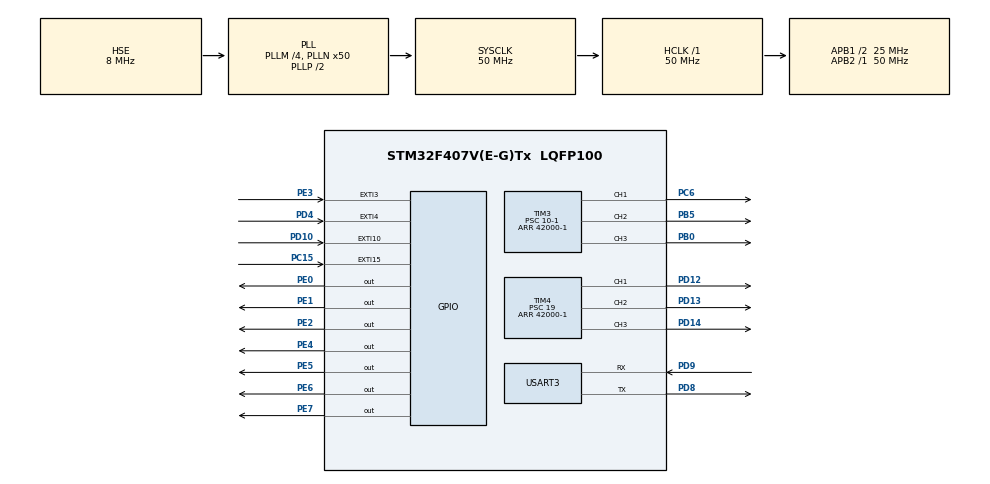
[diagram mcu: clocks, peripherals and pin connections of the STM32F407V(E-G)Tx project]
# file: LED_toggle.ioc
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Mcu.Family=STM32F4
Mcu.Name=STM32F407V(E-G)Tx
Mcu.Package=LQFP100
NVIC.EXTI15_10_IRQn=true\:0\:0\:false\:true\:true\:3\:true\:true\:true
NVIC.EXTI3_IRQn=true\:0\:0\:false\:true\:true\:5\:true\:true\:true
NVIC.EXTI4_IRQn=true\:0\:0\:false\:true\:true\:4\:true\:true\:true
NVIC.PriorityGroup=NVIC_PRIORITYGROUP_4
NVIC.TIM7_IRQn=true\:0\:0\:false\:true\:true\:2\:true\:true\:true
NVIC.USART3_IRQn=true\:0\:0\:false\:true\:true\:1\:true\:true\:true
PB0.Signal=S_TIM3_CH3
PB5.Signal=S_TIM3_CH2
PC15-OSC32_OUT.Signal=GPXTI15
PC6.Signal=S_TIM3_CH1
PD10.Signal=GPXTI10
PD12.Signal=S_TIM4_CH1
PD13.Signal=S_TIM4_CH2
PD14.Signal=S_TIM4_CH3
PD4.Signal=GPXTI4
PD8.Mode=Asynchronous
PD8.Signal=USART3_TX
PD9.Mode=Asynchronous
PD9.Signal=USART3_RX
PE0.Signal=GPIO_Output
PE1.Signal=GPIO_Output
PE2.Signal=GPIO_Output
PE3.Signal=GPXTI3
PE4.Signal=GPIO_Output
PE5.Signal=GPIO_Output
PE6.Signal=GPIO_Output
PE7.Signal=GPIO_Output
PH0-OSC_IN.Mode=HSE-External-Oscillator
PH0-OSC_IN.Signal=RCC_OSC_IN
PH1-OSC_OUT.Mode=HSE-External-Oscillator
PH1-OSC_OUT.Signal=RCC_OSC_OUT
ProjectManager.HeapSize=0x200
ProjectManager.StackSize=0x400
ProjectManager.TargetToolchain=STM32CubeIDE
RCC.48MHZClocksFreq_Value=25000000
RCC.AHBFreq_Value=50000000
RCC.APB1CLKDivider=RCC_HCLK_DIV2
RCC.APB1Freq_Value=25000000
RCC.APB1TimFreq_Value=50000000
RCC.APB2Freq_Value=50000000
RCC.APB2TimFreq_Value=50000000
RCC.CortexFreq_Value=50000000
RCC.HCLKFreq_Value=50000000
RCC.HSE_VALUE=8000000
RCC.HSI_VALUE=16000000
RCC.PLLM=4
RCC.PLLN=50
RCC.PLLSourceVirtual=RCC_PLLSOURCE_HSE
RCC.SYSCLKFreq_VALUE=50000000
RCC.SYSCLKSource=RCC_SYSCLKSOURCE_PLLCLK
RCC.VCOOutputFreq_Value=100000000
SH.S_TIM3_CH1.0=TIM3_CH1,PWM Generation1 CH1
SH.S_TIM3_CH2.0=TIM3_CH2,PWM Generation2 CH2
SH.S_TIM3_CH3.0=TIM3_CH3,PWM Generation3 CH3
SH.S_TIM4_CH1.0=TIM4_CH1,PWM Generation1 CH1
SH.S_TIM4_CH2.0=TIM4_CH2,PWM Generation2 CH2
SH.S_TIM4_CH3.0=TIM4_CH3,PWM Generation3 CH3
TIM3.Channel-PWM\ Generation1\ CH1=TIM_CHANNEL_1
TIM3.Channel-PWM\ Generation2\ CH2=TIM_CHANNEL_2
TIM3.Channel-PWM\ Generation3\ CH3=TIM_CHANNEL_3
TIM3.Period=42000-1
TIM3.Prescaler=10-1
TIM3.Pulse-PWM\ Generation1\ CH1=21000-1
TIM3.Pulse-PWM\ Generation2\ CH2=10500-1
TIM3.Pulse-PWM\ Generation3\ CH3=5250-1
TIM4.Channel-PWM\ Generation1\ CH1=TIM_CHANNEL_1
TIM4.Channel-PWM\ Generation2\ CH2=TIM_CHANNEL_2
TIM4.Channel-PWM\ Generation3\ CH3=TIM_CHANNEL_3
TIM4.Period=42000-1
TIM4.Prescaler=19
TIM4.Pulse-PWM\ Generation1\ CH1=21000-1
TIM4.Pulse-PWM\ Generation2\ CH2=10500-1
TIM4.Pulse-PWM\ Generation3\ CH3=5250-1
TIM7.Period=8399
TIM7.Prescaler=9999
USART3.VirtualMode=VM_ASYNC
VP_TIM3_VS_ClockSourceINT.Mode=Internal
VP_TIM4_VS_ClockSourceINT.Mode=Internal
VP_TIM7_VS_ClockSourceINT.Mode=Enable_Timer
board=custom

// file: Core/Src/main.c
/* USER CODE BEGIN Header */
/**
  ******************************************************************************
  * @file           : main.c
  * @brief          : Main program body
  ******************************************************************************
  * @attention
  *
  * Copyright (c) 2025 STMicroelectronics.
  * All rights reserved.
  *
  * This software is licensed under terms that can be found in the LICENSE file
  * in the root directory of this software component.
  * If no LICENSE file comes with this software, it is provided AS-IS.
  *
  ******************************************************************************
  */
/* USER CODE END Header */
#include "main.h"

/* USER CODE BEGIN Includes */
#include <stdio.h>
/* USER CODE END Includes */

TIM_HandleTypeDef htim3;
TIM_HandleTypeDef htim4;
TIM_HandleTypeDef htim7;

UART_HandleTypeDef huart3;

/* USER CODE BEGIN PV */
uint8_t rx3_data;
/* USER CODE END PV */

void SystemClock_Config(void);
static void MX_GPIO_Init(void);
static void MX_USART3_UART_Init(void);
static void MX_TIM7_Init(void);
static void MX_TIM3_Init(void);
static void MX_TIM4_Init(void);
static void MX_NVIC_Init(void);
/* USER CODE BEGIN PFP */
int _write(int file, char* p, int len)
{
	HAL_UART_Transmit(&huart3, (uint8_t*)p, len, 10);
	return len;
}
/* USER CODE END PFP */

int main(void)
{

  /* MCU Configuration--------------------------------------------------------*/

  /* Reset of all peripherals, Initializes the Flash interface and the Systick. */
  HAL_Init();

  /* Configure the system clock */
  SystemClock_Config();

  /* Initialize all configured peripherals */
  MX_GPIO_Init();
  MX_USART3_UART_Init();
  MX_TIM7_Init();
  MX_TIM3_Init();
  MX_TIM4_Init();

  /* Initialize interrupts */
  MX_NVIC_Init();
  /* USER CODE BEGIN 2 */
  HAL_GPIO_WritePin(GPIOD,GPIO_PIN_12,GPIO_PIN_SET);
  HAL_GPIO_WritePin(GPIOD,GPIO_PIN_13,GPIO_PIN_SET);
	HAL_GPIO_WritePin(GPIOD,GPIO_PIN_14,GPIO_PIN_SET);
	HAL_UART_Receive_IT(&huart3, &rx3_data,1);
	HAL_TIM_Base_Start_IT(&htim7);

  /* USER CODE END 2 */
	HAL_TIM_PWM_Start(&htim3,TIM_CHANNEL_1);
	HAL_TIM_PWM_Start(&htim3,TIM_CHANNEL_2);
	HAL_TIM_PWM_Start(&htim3,TIM_CHANNEL_3);

	HAL_TIM_PWM_Start(&htim4,TIM_CHANNEL_1);
	HAL_TIM_PWM_Start(&htim4,TIM_CHANNEL_2);
	HAL_TIM_PWM_Start(&htim4,TIM_CHANNEL_3);
  /* Infinite loop */
  /* USER CODE BEGIN WHILE */
  uint16_t ccr=0;
  while (1)
  {
	  __HAL_TIM_SET_COMPARE(&htim4,TIM_CHANNEL_1,ccr);
	  ccr+=1000;
	  if (ccr>TIM4->ARR) ccr=0;
	  HAL_Delay(50);
//
//	printf("Hello %d\n",a++);
//	HAL_Delay(1000);
  }
//	GPIOE->ODR=0x3F00;
//	HAL_Delay(1000);
//	GPIOE->ODR=0x0600;
//	HAL_Delay(1000);
//	GPIOE->ODR=0x5800;
//	HAL_Delay(1000);
//	GPIOE->ODR=0x4F00;
//	HAL_Delay(1000);
//	GPIOE->ODR=0x6600;
//	HAL_Delay(1000);
//	GPIOE->ODR=0x6D00;
//	HAL_Delay(1000);
//	GPIOE->ODR=0x7D00;
//	HAL_Delay(1000);
//	GPIOE->ODR=0x0700;
//	HAL_Delay(1000);
//	GPIOE->ODR=0x7F00;
//	HAL_Delay(1000);
//	GPIOE->ODR=0x6F00;
//	HAL_Delay(1000);

    /* USER CODE END WHILE */

}

void SystemClock_Config(void)
{
  RCC_OscInitTypeDef RCC_OscInitStruct = {0};
  RCC_ClkInitTypeDef RCC_ClkInitStruct = {0};

  /** Configure the main internal regulator output voltage
  */
  __HAL_RCC_PWR_CLK_ENABLE();
  __HAL_PWR_VOLTAGESCALING_CONFIG(PWR_REGULATOR_VOLTAGE_SCALE1);

  /** Initializes the RCC Oscillators according to the specified parameters
  * in the RCC_OscInitTypeDef structure.
  */
  RCC_OscInitStruct.OscillatorType = RCC_OSCILLATORTYPE_HSE;
  RCC_OscInitStruct.HSEState = RCC_HSE_ON;
  RCC_OscInitStruct.PLL.PLLState = RCC_PLL_ON;
  RCC_OscInitStruct.PLL.PLLSource = RCC_PLLSOURCE_HSE;
  RCC_OscInitStruct.PLL.PLLM = 4;
  RCC_OscInitStruct.PLL.PLLN = 50;
  RCC_OscInitStruct.PLL.PLLP = RCC_PLLP_DIV2;
  RCC_OscInitStruct.PLL.PLLQ = 4;
  if (HAL_RCC_OscConfig(&RCC_OscInitStruct) != HAL_OK)
  {
    Error_Handler();
  }

  /** Initializes the CPU, AHB and APB buses clocks
  */
  RCC_ClkInitStruct.ClockType = RCC_CLOCKTYPE_HCLK|RCC_CLOCKTYPE_SYSCLK
                              |RCC_CLOCKTYPE_PCLK1|RCC_CLOCKTYPE_PCLK2;
  RCC_ClkInitStruct.SYSCLKSource = RCC_SYSCLKSOURCE_PLLCLK;
  RCC_ClkInitStruct.AHBCLKDivider = RCC_SYSCLK_DIV1;
  RCC_ClkInitStruct.APB1CLKDivider = RCC_HCLK_DIV2;
  RCC_ClkInitStruct.APB2CLKDivider = RCC_HCLK_DIV1;

  if (HAL_RCC_ClockConfig(&RCC_ClkInitStruct, FLASH_LATENCY_1) != HAL_OK)
  {
    Error_Handler();
  }
}

/**
  * @brief NVIC Configuration.
  * @retval None
  */
static void MX_NVIC_Init(void)
{
  /* USART3_IRQn interrupt configuration */
  HAL_NVIC_SetPriority(USART3_IRQn, 0, 0);
  HAL_NVIC_EnableIRQ(USART3_IRQn);
  /* TIM7_IRQn interrupt configuration */
  HAL_NVIC_SetPriority(TIM7_IRQn, 0, 0);
  HAL_NVIC_EnableIRQ(TIM7_IRQn);
  /* EXTI15_10_IRQn interrupt configuration */
  HAL_NVIC_SetPriority(EXTI15_10_IRQn, 0, 0);
  HAL_NVIC_EnableIRQ(EXTI15_10_IRQn);
  /* EXTI4_IRQn interrupt configuration */
  HAL_NVIC_SetPriority(EXTI4_IRQn, 0, 0);
  HAL_NVIC_EnableIRQ(EXTI4_IRQn);
  /* EXTI3_IRQn interrupt configuration */
  HAL_NVIC_SetPriority(EXTI3_IRQn, 0, 0);
  HAL_NVIC_EnableIRQ(EXTI3_IRQn);
}

static void MX_TIM3_Init(void)
{

  TIM_ClockConfigTypeDef sClockSourceConfig = {0};
  TIM_MasterConfigTypeDef sMasterConfig = {0};
  TIM_OC_InitTypeDef sConfigOC = {0};

  htim3.Instance = TIM3;
  htim3.Init.Prescaler = 10-1;
  htim3.Init.CounterMode = TIM_COUNTERMODE_UP;
  htim3.Init.Period = 42000-1;
  htim3.Init.ClockDivision = TIM_CLOCKDIVISION_DIV1;

  if (HAL_TIM_Base_Init(&htim3) != HAL_OK)
  {
    Error_Handler();
  }
  sClockSourceConfig.ClockSource = TIM_CLOCKSOURCE_INTERNAL;
  if (HAL_TIM_ConfigClockSource(&htim3, &sClockSourceConfig) != HAL_OK)
  {
    Error_Handler();
  }
  if (HAL_TIM_PWM_Init(&htim3) != HAL_OK)
  {
    Error_Handler();
  }
  sMasterConfig.MasterOutputTrigger = TIM_TRGO_RESET;
  sMasterConfig.MasterSlaveMode = TIM_MASTERSLAVEMODE_DISABLE;
  if (HAL_TIMEx_MasterConfigSynchronization(&htim3, &sMasterConfig) != HAL_OK)
  {
    Error_Handler();
  }
  sConfigOC.OCMode = TIM_OCMODE_PWM1;
  sConfigOC.Pulse = 21000-1;
  sConfigOC.OCPolarity = TIM_OCPOLARITY_HIGH;
  sConfigOC.OCFastMode = TIM_OCFAST_DISABLE;
  if (HAL_TIM_PWM_ConfigChannel(&htim3, &sConfigOC, TIM_CHANNEL_1) != HAL_OK)
  {
    Error_Handler();
  }
  sConfigOC.Pulse = 10500-1;
  if (HAL_TIM_PWM_ConfigChannel(&htim3, &sConfigOC, TIM_CHANNEL_2) != HAL_OK)
  {
    Error_Handler();
  }
  sConfigOC.Pulse = 5250-1;
  if (HAL_TIM_PWM_ConfigChannel(&htim3, &sConfigOC, TIM_CHANNEL_3) != HAL_OK)
  {
    Error_Handler();
  }
  HAL_TIM_MspPostInit(&htim3);

}

static void MX_TIM4_Init(void)
{

  TIM_ClockConfigTypeDef sClockSourceConfig = {0};
  TIM_MasterConfigTypeDef sMasterConfig = {0};
  TIM_OC_InitTypeDef sConfigOC = {0};

  htim4.Instance = TIM4;
  htim4.Init.Prescaler = 19;
  htim4.Init.CounterMode = TIM_COUNTERMODE_UP;
  htim4.Init.Period = 42000-1;
  htim4.Init.ClockDivision = TIM_CLOCKDIVISION_DIV1;

  if (HAL_TIM_Base_Init(&htim4) != HAL_OK)
  {
    Error_Handler();
  }
  sClockSourceConfig.ClockSource = TIM_CLOCKSOURCE_INTERNAL;
  if (HAL_TIM_ConfigClockSource(&htim4, &sClockSourceConfig) != HAL_OK)
  {
    Error_Handler();
  }
  if (HAL_TIM_PWM_Init(&htim4) != HAL_OK)
  {
    Error_Handler();
  }
  sMasterConfig.MasterOutputTrigger = TIM_TRGO_RESET;
  sMasterConfig.MasterSlaveMode = TIM_MASTERSLAVEMODE_DISABLE;
  if (HAL_TIMEx_MasterConfigSynchronization(&htim4, &sMasterConfig) != HAL_OK)
  {
    Error_Handler();
  }
  sConfigOC.OCMode = TIM_OCMODE_PWM1;
  sConfigOC.Pulse = 21000-1;
  sConfigOC.OCPolarity = TIM_OCPOLARITY_HIGH;
  sConfigOC.OCFastMode = TIM_OCFAST_DISABLE;
  if (HAL_TIM_PWM_ConfigChannel(&htim4, &sConfigOC, TIM_CHANNEL_1) != HAL_OK)
  {
    Error_Handler();
  }
  sConfigOC.Pulse = 10500-1;
  if (HAL_TIM_PWM_ConfigChannel(&htim4, &sConfigOC, TIM_CHANNEL_2) != HAL_OK)
  {
    Error_Handler();
  }
  sConfigOC.Pulse = 5250-1;
  if (HAL_TIM_PWM_ConfigChannel(&htim4, &sConfigOC, TIM_CHANNEL_3) != HAL_OK)
  {
    Error_Handler();
  }
  HAL_TIM_MspPostInit(&htim4);

}

static void MX_TIM7_Init(void)
{

  TIM_MasterConfigTypeDef sMasterConfig = {0};

  htim7.Instance = TIM7;
  htim7.Init.Prescaler = 9999;
  htim7.Init.CounterMode = TIM_COUNTERMODE_UP;
  htim7.Init.Period = 8399;

  if (HAL_TIM_Base_Init(&htim7) != HAL_OK)
  {
    Error_Handler();
  }
  sMasterConfig.MasterOutputTrigger = TIM_TRGO_RESET;
  sMasterConfig.MasterSlaveMode = TIM_MASTERSLAVEMODE_DISABLE;
  if (HAL_TIMEx_MasterConfigSynchronization(&htim7, &sMasterConfig) != HAL_OK)
  {
    Error_Handler();
  }

}

static void MX_USART3_UART_Init(void)
{

  huart3.Instance = USART3;
  huart3.Init.BaudRate = 115200;
  huart3.Init.WordLength = UART_WORDLENGTH_8B;
  huart3.Init.StopBits = UART_STOPBITS_1;
  huart3.Init.Parity = UART_PARITY_NONE;
  huart3.Init.Mode = UART_MODE_TX_RX;
  huart3.Init.HwFlowCtl = UART_HWCONTROL_NONE;
  huart3.Init.OverSampling = UART_OVERSAMPLING_16;
  if (HAL_UART_Init(&huart3) != HAL_OK)
  {
    Error_Handler();
  }

}

static void MX_GPIO_Init(void)
{
  GPIO_InitTypeDef GPIO_InitStruct = {0};

  /* GPIO Ports Clock Enable */
  __HAL_RCC_GPIOE_CLK_ENABLE();
  __HAL_RCC_GPIOC_CLK_ENABLE();
  __HAL_RCC_GPIOH_CLK_ENABLE();
  __HAL_RCC_GPIOB_CLK_ENABLE();
  __HAL_RCC_GPIOD_CLK_ENABLE();

  /*Configure GPIO pin Output Level */
  HAL_GPIO_WritePin(GPIOE, GPIO_PIN_2|GPIO_PIN_4|GPIO_PIN_5|GPIO_PIN_6
                          |GPIO_PIN_7|GPIO_PIN_0|GPIO_PIN_1, GPIO_PIN_RESET);

  /*Configure GPIO pins : PE2 PE4 PE5 PE6
                           PE7 PE0 PE1 */
  GPIO_InitStruct.Pin = GPIO_PIN_2|GPIO_PIN_4|GPIO_PIN_5|GPIO_PIN_6
                          |GPIO_PIN_7|GPIO_PIN_0|GPIO_PIN_1;
  GPIO_InitStruct.Mode = GPIO_MODE_OUTPUT_PP;
  GPIO_InitStruct.Pull = GPIO_NOPULL;
  GPIO_InitStruct.Speed = GPIO_SPEED_FREQ_LOW;
  HAL_GPIO_Init(GPIOE, &GPIO_InitStruct);

  /*Configure GPIO pin : PE3 */
  GPIO_InitStruct.Pin = GPIO_PIN_3;
  GPIO_InitStruct.Mode = GPIO_MODE_IT_RISING;
  GPIO_InitStruct.Pull = GPIO_NOPULL;
  HAL_GPIO_Init(GPIOE, &GPIO_InitStruct);

  /*Configure GPIO pin : PC15 */
  GPIO_InitStruct.Pin = GPIO_PIN_15;
  GPIO_InitStruct.Mode = GPIO_MODE_IT_RISING;
  GPIO_InitStruct.Pull = GPIO_NOPULL;
  HAL_GPIO_Init(GPIOC, &GPIO_InitStruct);

  /*Configure GPIO pins : PD10 PD4 */
  GPIO_InitStruct.Pin = GPIO_PIN_10|GPIO_PIN_4;
  GPIO_InitStruct.Mode = GPIO_MODE_IT_RISING;
  GPIO_InitStruct.Pull = GPIO_NOPULL;
  HAL_GPIO_Init(GPIOD, &GPIO_InitStruct);

}

/* USER CODE BEGIN 4 */
void HAL_UART_RxCpltCallback(UART_HandleTypeDef *huart)
{
  /* Prevent unused argument(s) compilation warning */
	if(huart->Instance ==USART3)
	{
		HAL_UART_Receive_IT(&huart3, &rx3_data,1);
		HAL_UART_Transmit(&huart3, &rx3_data,1,10);
	}
  /* NOTE: This function should not be modified, when the callback is needed,
           the HAL_UART_RxCpltCallback could be implemented in the user file
   */
}

void HAL_TIM_PeriodElapseCallback(TIM_HandleTypeDef *htim)
{
	if(htim->Instance==TIM7)
	{
		HAL_GPIO_TogglePin(GPIOD,GPIO_PIN_12);
	}
}

void HAL_GPIO_EXTI_Callback(uint16_t GPIO_Pin)
{
  if(GPIO_Pin==GPIO_PIN_3)
  {
	  HAL_GPIO_TogglePin(GPIOD,GPIO_PIN_13);
  }

  if(GPIO_Pin==GPIO_PIN_10)
   {
	  HAL_GPIO_TogglePin(GPIOD,GPIO_PIN_14);
   }

}
/* USER CODE END 4 */

void Error_Handler(void)
{
  __disable_irq();
  while (1)
  {
  }
}
